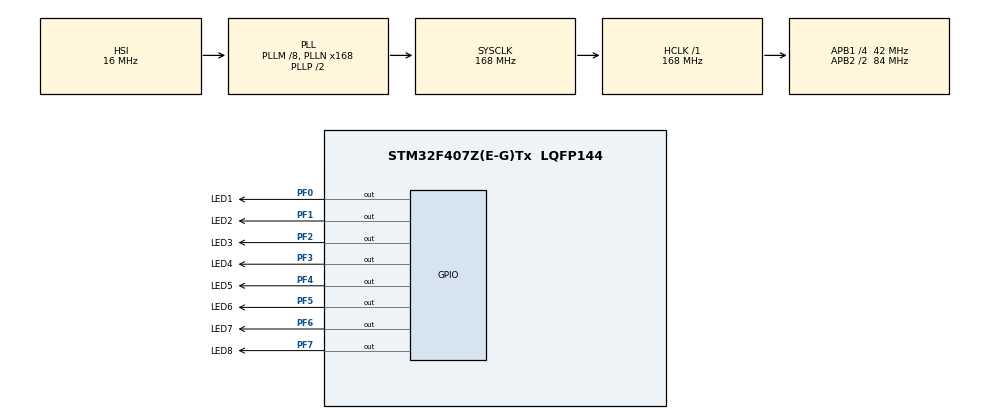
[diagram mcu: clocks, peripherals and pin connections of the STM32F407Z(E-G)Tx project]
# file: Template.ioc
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Mcu.Family=STM32F4
Mcu.Name=STM32F407Z(E-G)Tx
Mcu.Package=LQFP144
NVIC.PriorityGroup=NVIC_PRIORITYGROUP_4
PA13.Mode=Serial_Wire
PA13.Signal=SYS_JTMS-SWDIO
PA14.Mode=Serial_Wire
PA14.Signal=SYS_JTCK-SWCLK
PF0.GPIO_Label=LED1
PF0.GPIO_PuPd=GPIO_NOPULL
PF0.PinState=GPIO_PIN_SET
PF0.Signal=GPIO_Output
PF1.GPIO_Label=LED2
PF1.PinState=GPIO_PIN_SET
PF1.Signal=GPIO_Output
PF2.GPIO_Label=LED3
PF2.PinState=GPIO_PIN_SET
PF2.Signal=GPIO_Output
PF3.GPIO_Label=LED4
PF3.PinState=GPIO_PIN_SET
PF3.Signal=GPIO_Output
PF4.GPIO_Label=LED5
PF4.PinState=GPIO_PIN_SET
PF4.Signal=GPIO_Output
PF5.GPIO_Label=LED6
PF5.PinState=GPIO_PIN_SET
PF5.Signal=GPIO_Output
PF6.GPIO_Label=LED7
PF6.PinState=GPIO_PIN_SET
PF6.Signal=GPIO_Output
PF7.GPIO_Label=LED8
PF7.PinState=GPIO_PIN_SET
PF7.Signal=GPIO_Output
PH0-OSC_IN.Mode=HSE-External-Oscillator
PH0-OSC_IN.Signal=RCC_OSC_IN
PH1-OSC_OUT.Mode=HSE-External-Oscillator
PH1-OSC_OUT.Signal=RCC_OSC_OUT
ProjectManager.HeapSize=0x200
ProjectManager.StackSize=0x400
ProjectManager.TargetToolchain=MDK-ARM V5.32
RCC.48MHZClocksFreq_Value=84000000
RCC.AHBFreq_Value=168000000
RCC.APB1CLKDivider=RCC_HCLK_DIV4
RCC.APB1Freq_Value=42000000
RCC.APB1TimFreq_Value=84000000
RCC.APB2CLKDivider=RCC_HCLK_DIV2
RCC.APB2Freq_Value=84000000
RCC.APB2TimFreq_Value=168000000
RCC.CortexFreq_Value=168000000
RCC.HCLKFreq_Value=168000000
RCC.HSE_VALUE=8000000
RCC.HSI_VALUE=16000000
RCC.LSE_VALUE=32768
RCC.PLLM=8
RCC.PLLN=168
RCC.SYSCLKFreq_VALUE=168000000
RCC.SYSCLKSource=RCC_SYSCLKSOURCE_PLLCLK
RCC.VCOOutputFreq_Value=336000000
board=custom

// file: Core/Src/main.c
/* USER CODE BEGIN Header */
/**
  ******************************************************************************
  * @file           : main.c
  * @brief          : Main program body
  ******************************************************************************
  * @attention
  *
  * Copyright (c) 2026 STMicroelectronics.
  * All rights reserved.
  *
  * This software is licensed under terms that can be found in the LICENSE file
  * in the root directory of this software component.
  * If no LICENSE file comes with this software, it is provided AS-IS.
  *
  ******************************************************************************
  */
/* USER CODE END Header */
#include "main.h"
#include "gpio.h"

void SystemClock_Config(void);

/* USER CODE BEGIN 0 */
void delay(volatile uint32_t i)
{
    while(i--);
}
/* USER CODE END 0 */

int main(void)
{

  /* MCU Configuration--------------------------------------------------------*/

  /* Reset of all peripherals, Initializes the Flash interface and the Systick. */
  HAL_Init();

  /* Configure the system clock */
  SystemClock_Config();

  /* Initialize all configured peripherals */
  MX_GPIO_Init();

  /* Infinite loop */
  /* USER CODE BEGIN WHILE */
    while (1)
    {
        GPIOF->ODR=0xFE;	//11111110 PF0?
 	delay(24000000);
 	GPIOF->ODR=0xFD;	//11111101 PF1?
 	delay(24000000);
 	GPIOF->ODR=0xFB;	//11111011 PF2?
 	delay(24000000);
 	GPIOF->ODR=0xF7;	//11110111 PF3?
 	delay(24000000);
 	GPIOF->ODR=0xEF;	//11101111 PF4?
 	delay(24000000);
 	GPIOF->ODR=0xDF;	//11011111 PF5?
 	delay(24000000);
 	GPIOF->ODR=0xBF;	//10111111 PF6?
 	delay(24000000);
 	GPIOF->ODR=0x7F;	//01111111 PF7?
 	delay(24000000);

    /* USER CODE END WHILE */

  }
}

void SystemClock_Config(void)
{
  RCC_OscInitTypeDef RCC_OscInitStruct = {0};
  RCC_ClkInitTypeDef RCC_ClkInitStruct = {0};

  /** Configure the main internal regulator output voltage
  */
  __HAL_RCC_PWR_CLK_ENABLE();
  __HAL_PWR_VOLTAGESCALING_CONFIG(PWR_REGULATOR_VOLTAGE_SCALE1);

  /** Initializes the RCC Oscillators according to the specified parameters
  * in the RCC_OscInitTypeDef structure.
  */
  RCC_OscInitStruct.OscillatorType = RCC_OSCILLATORTYPE_HSI;
  RCC_OscInitStruct.HSIState = RCC_HSI_ON;
  RCC_OscInitStruct.HSICalibrationValue = RCC_HSICALIBRATION_DEFAULT;
  RCC_OscInitStruct.PLL.PLLState = RCC_PLL_ON;
  RCC_OscInitStruct.PLL.PLLSource = RCC_PLLSOURCE_HSI;
  RCC_OscInitStruct.PLL.PLLM = 8;
  RCC_OscInitStruct.PLL.PLLN = 168;
  RCC_OscInitStruct.PLL.PLLP = RCC_PLLP_DIV2;
  RCC_OscInitStruct.PLL.PLLQ = 4;
  if (HAL_RCC_OscConfig(&RCC_OscInitStruct) != HAL_OK)
  {
    Error_Handler();
  }

  /** Initializes the CPU, AHB and APB buses clocks
  */
  RCC_ClkInitStruct.ClockType = RCC_CLOCKTYPE_HCLK|RCC_CLOCKTYPE_SYSCLK
                              |RCC_CLOCKTYPE_PCLK1|RCC_CLOCKTYPE_PCLK2;
  RCC_ClkInitStruct.SYSCLKSource = RCC_SYSCLKSOURCE_PLLCLK;
  RCC_ClkInitStruct.AHBCLKDivider = RCC_SYSCLK_DIV1;
  RCC_ClkInitStruct.APB1CLKDivider = RCC_HCLK_DIV4;
  RCC_ClkInitStruct.APB2CLKDivider = RCC_HCLK_DIV2;

  if (HAL_RCC_ClockConfig(&RCC_ClkInitStruct, FLASH_LATENCY_5) != HAL_OK)
  {
    Error_Handler();
  }
}

void Error_Handler(void)
{
  __disable_irq();
  while (1)
  {
  }
}
